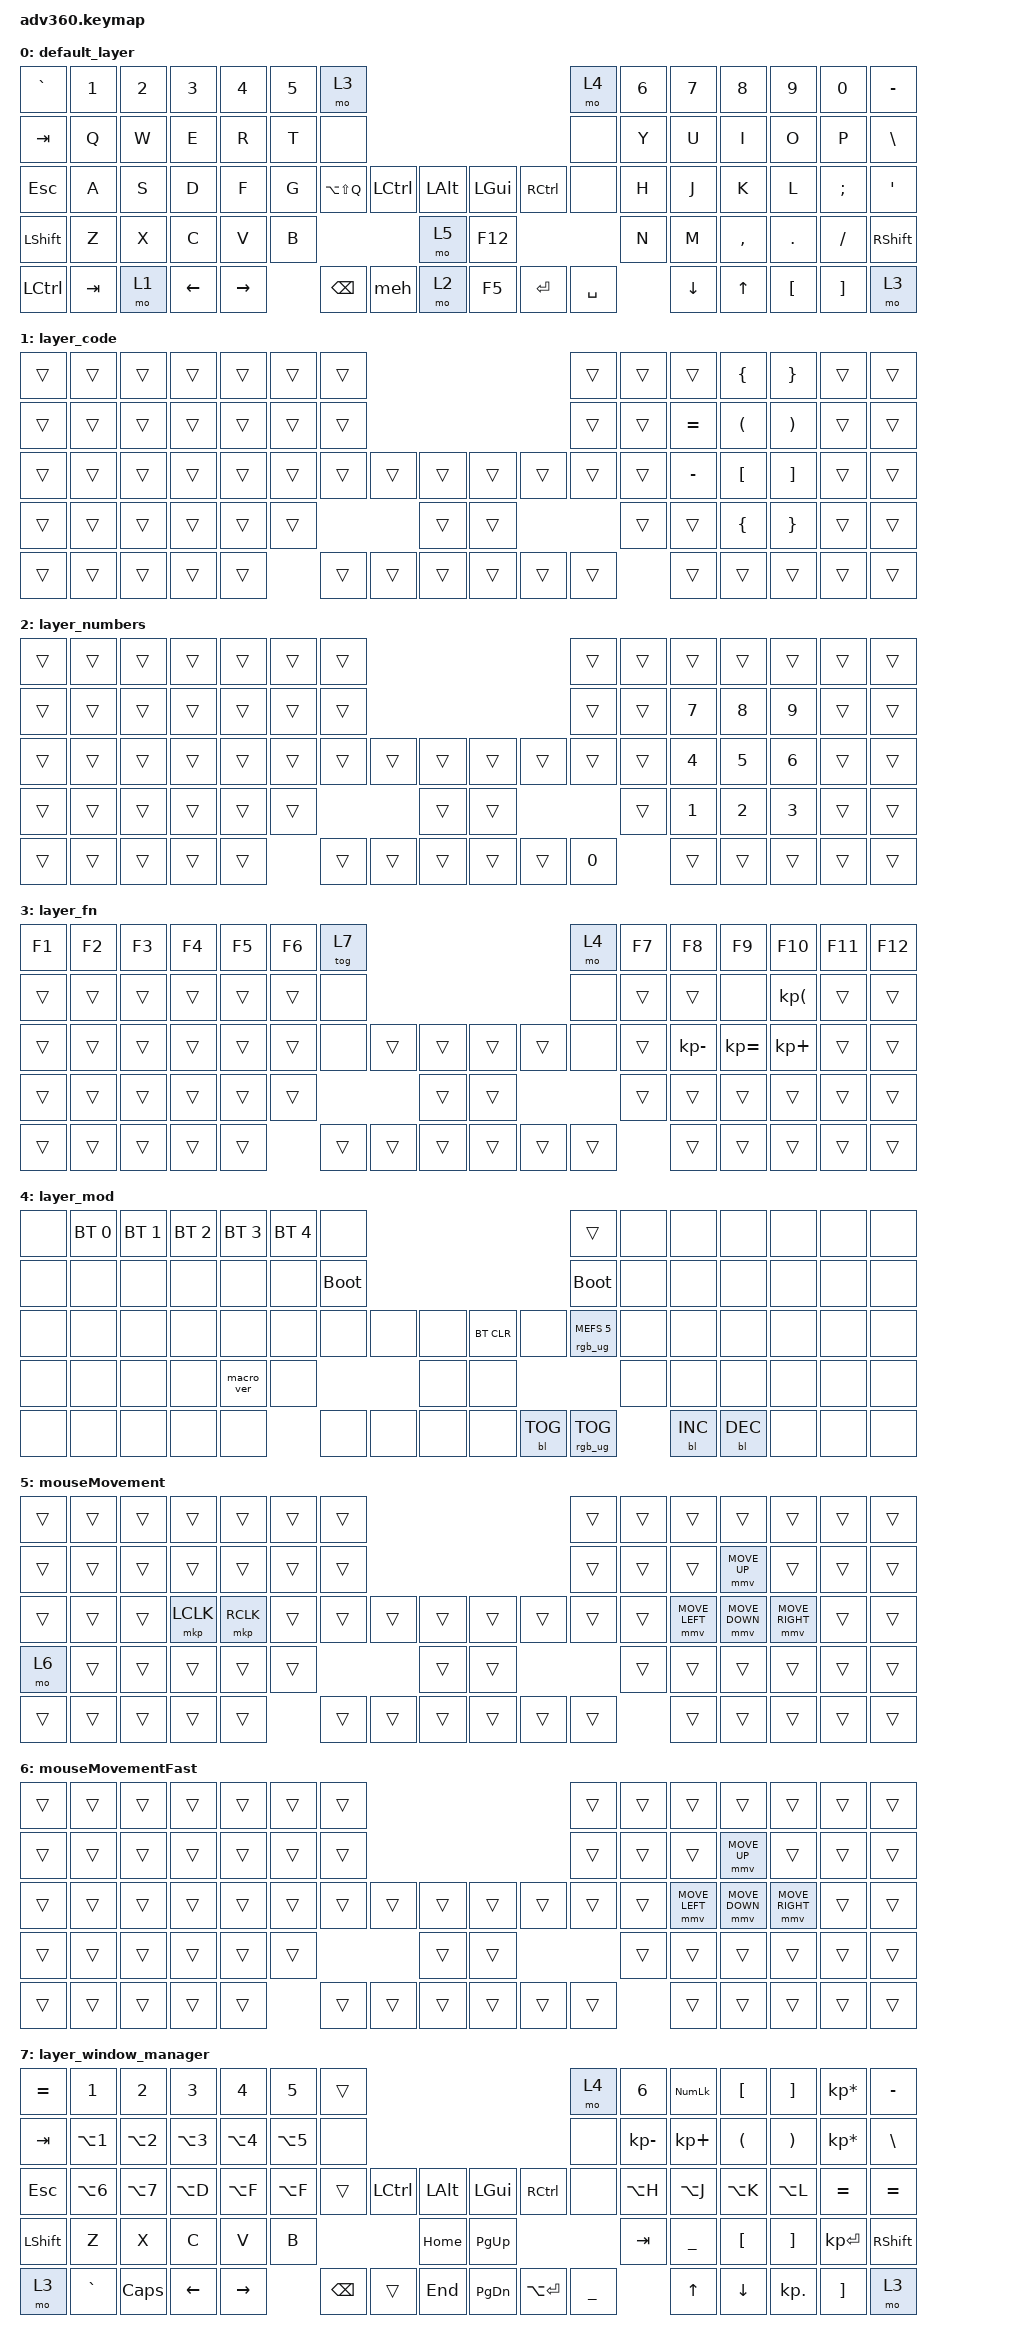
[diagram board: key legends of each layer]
/*
 * Copyright (c) 2020 The ZMK Contributors
 *
 * SPDX-License-Identifier: MIT
 */
/* THIS FILE WAS GENERATED!
 *
 * This file was generated automatically. You may or may not want to
 * edit it directly.
 */

#include <input/processors.dtsi>
#include <behaviors.dtsi>
#include <dt-bindings/zmk/backlight.h>
#include <dt-bindings/zmk/bt.h>
#include <dt-bindings/zmk/keys.h>
#include <dt-bindings/zmk/pointing.h>
#include <dt-bindings/zmk/rgb.h>

&mmv {
    acceleration-exponent = <2>;
    trigger-period-ms = <3>;
    time-to-max-speed-ms = <300>;
};

/*
* &mmv_input_listener {
*     set_fast {
*         layers = <6>;
*         input-processors = <&zip_xy_scale 2 1>;
*     };
* };
*/


/ {
    behaviors {
        #include "macros.dtsi"
    #include "version.dtsi"

        hm: homerow_mods {
            compatible = "zmk,behavior-hold-tap";
            label = "HOMEROW_MODS";
            #binding-cells = <2>;
            tapping-term-ms = <200>;
            quick_tap_ms = <175>;
            flavor = "tap-preferred";
            bindings = <&kp>, <&kp>;
        };
    };

    macros {
        meh: meh {
            compatible = "zmk,behavior-macro";
            #binding-cells = <0>;
            bindings =
                <&kp LEFT_CONTROL &kp LEFT_ALT &kp LEFT_SHIFT>,
                <&macro_press>;

            label = "MEH";
        };
    };

    keymap {
        compatible = "zmk,keymap";

        default_layer {
            bindings = <
&kp GRAVE  &kp N1   &kp N2  &kp N3    &kp N4     &kp N5  &mo 3                                                        &mo 4      &kp N6  &kp N7    &kp N8     &kp N9            &kp N0    &kp MINUS
&kp TAB    &kp Q    &kp W   &kp E     &kp R      &kp T   &none                                                        &none      &kp Y   &kp U     &kp I      &kp O             &kp P     &kp BSLH
&kp ESC    &kp A    &kp S   &kp D     &kp F      &kp G   &kp LA(LS(Q))  &kp LCTRL  &kp LALT      &kp LGUI  &kp RCTRL  &none      &kp H   &kp J     &kp K      &kp L             &kp SEMI  &kp SQT
&kp LSHFT  &kp Z    &kp X   &kp C     &kp V      &kp B                             &mo 5         &kp F12                         &kp N   &kp M     &kp COMMA  &kp DOT           &kp FSLH  &kp RSHFT
&kp LCTRL  &kp TAB  &mo 1   &kp LEFT  &kp RIGHT          &kp BSPC       &meh       &mo 2         &kp F5    &kp ENTER  &kp SPACE          &kp DOWN  &kp UP     &kp LEFT_BRACKET  &kp RBKT  &mo 3
            >;
        };

        layer_code {
            bindings = <
&trans  &trans  &trans  &trans  &trans  &trans  &trans                                      &trans  &trans  &trans     &kp LEFT_BRACE        &kp RIGHT_BRACE        &trans  &trans
&trans  &trans  &trans  &trans  &trans  &trans  &trans                                      &trans  &trans  &kp EQUAL  &kp LEFT_PARENTHESIS  &kp RIGHT_PARENTHESIS  &trans  &trans
&trans  &trans  &trans  &trans  &trans  &trans  &trans  &trans  &trans      &trans  &trans  &trans  &trans  &kp MINUS  &kp LEFT_BRACKET      &kp RIGHT_BRACKET      &trans  &trans
&trans  &trans  &trans  &trans  &trans  &trans                  &trans      &trans                  &trans  &trans     &kp LEFT_BRACE        &kp RIGHT_BRACE        &trans  &trans
&trans  &trans  &trans  &trans  &trans          &trans  &trans  &trans      &trans  &trans  &trans          &trans     &trans                &trans                 &trans  &trans
            >;
        };

        layer_numbers {
            bindings = <
&trans  &trans  &trans  &trans  &trans  &trans  &trans                                      &trans        &trans  &trans        &trans        &trans        &trans  &trans
&trans  &trans  &trans  &trans  &trans  &trans  &trans                                      &trans        &trans  &kp NUMBER_7  &kp NUMBER_8  &kp NUMBER_9  &trans  &trans
&trans  &trans  &trans  &trans  &trans  &trans  &trans  &trans  &trans      &trans  &trans  &trans        &trans  &kp NUMBER_4  &kp NUMBER_5  &kp NUMBER_6  &trans  &trans
&trans  &trans  &trans  &trans  &trans  &trans                  &trans      &trans                        &trans  &kp NUMBER_1  &kp NUMBER_2  &kp NUMBER_3  &trans  &trans
&trans  &trans  &trans  &trans  &trans          &trans  &trans  &trans      &trans  &trans  &kp NUMBER_0          &trans        &trans        &trans        &trans  &trans
            >;
        };

        layer_fn {
            bindings = <
&kp F1  &kp F2  &kp F3  &kp F4  &kp F5  &kp F6  &tog 7                                      &mo 4   &kp F7  &kp F8        &kp F9        &kp F10                  &kp F11  &kp F12
&trans  &trans  &trans  &trans  &trans  &trans  &none                                       &none   &trans  &trans        &none         &kp KP_LEFT_PARENTHESIS  &trans   &trans
&trans  &trans  &trans  &trans  &trans  &trans  &none   &trans  &trans      &trans  &trans  &none   &trans  &kp KP_MINUS  &kp KP_EQUAL  &kp KP_PLUS              &trans   &trans
&trans  &trans  &trans  &trans  &trans  &trans                  &trans      &trans                  &trans  &trans        &trans        &trans                   &trans   &trans
&trans  &trans  &trans  &trans  &trans          &trans  &trans  &trans      &trans  &trans  &trans          &trans        &trans        &trans                   &trans   &trans
            >;
        };

        layer_mod {
            bindings = <
&none  &bt BT_SEL 0  &bt BT_SEL 1  &bt BT_SEL 2  &bt BT_SEL 3  &bt BT_SEL 4  &none                                                  &trans                  &none  &none       &none       &none  &none  &none
&none  &none         &none         &none         &none         &none         &bootloader                                            &bootloader             &none  &none       &none       &none  &none  &none
&none  &none         &none         &none         &none         &none         &none        &none  &none      &bt BT_CLR  &none       &rgb_ug RGB_MEFS_CMD 5  &none  &none       &none       &none  &none  &none
&none  &none         &none         &none         &macro_ver    &none                             &none      &none                                           &none  &none       &none       &none  &none  &none
&none  &none         &none         &none         &none                       &none        &none  &none      &none       &bl BL_TOG  &rgb_ug RGB_TOG                &bl BL_INC  &bl BL_DEC  &none  &none  &none
            >;
        };

        mouseMovement {
            bindings = <
&trans  &trans  &trans  &trans     &trans     &trans  &trans                                      &trans  &trans  &trans          &trans          &trans           &trans  &trans
&trans  &trans  &trans  &trans     &trans     &trans  &trans                                      &trans  &trans  &trans          &mmv MOVE_UP    &trans           &trans  &trans
&trans  &trans  &trans  &mkp LCLK  &mkp RCLK  &trans  &trans  &trans  &trans      &trans  &trans  &trans  &trans  &mmv MOVE_LEFT  &mmv MOVE_DOWN  &mmv MOVE_RIGHT  &trans  &trans
&mo 6   &trans  &trans  &trans     &trans     &trans                  &trans      &trans                  &trans  &trans          &trans          &trans           &trans  &trans
&trans  &trans  &trans  &trans     &trans             &trans  &trans  &trans      &trans  &trans  &trans          &trans          &trans          &trans           &trans  &trans
            >;
        };

        mouseMovementFast {
            bindings = <
&trans  &trans  &trans  &trans  &trans  &trans  &trans                                      &trans  &trans  &trans          &trans          &trans           &trans  &trans
&trans  &trans  &trans  &trans  &trans  &trans  &trans                                      &trans  &trans  &trans          &mmv MOVE_UP    &trans           &trans  &trans
&trans  &trans  &trans  &trans  &trans  &trans  &trans  &trans  &trans      &trans  &trans  &trans  &trans  &mmv MOVE_LEFT  &mmv MOVE_DOWN  &mmv MOVE_RIGHT  &trans  &trans
&trans  &trans  &trans  &trans  &trans  &trans                  &trans      &trans                  &trans  &trans          &trans          &trans           &trans  &trans
&trans  &trans  &trans  &trans  &trans          &trans  &trans  &trans      &trans  &trans  &trans          &trans          &trans          &trans           &trans  &trans
            >;
        };

        layer_window_manager {
            bindings = <
&kp EQUAL  &kp N1      &kp N2      &kp N3      &kp N4      &kp N5      &trans                                                       &mo 4           &kp N6        &kp KP_NUM   &kp LEFT_BRACKET      &kp RIGHT_BRACKET      &kp KP_MULTIPLY  &kp MINUS
&kp TAB    &kp LA(N1)  &kp LA(N2)  &kp LA(N3)  &kp LA(N4)  &kp LA(N5)  &none                                                        &none           &kp KP_MINUS  &kp KP_PLUS  &kp LEFT_PARENTHESIS  &kp RIGHT_PARENTHESIS  &kp KP_MULTIPLY  &kp BSLH
&kp ESC    &kp LA(N6)  &kp LA(N7)  &kp LA(D)   &kp LA(F)   &kp LA(F)   &trans    &kp LCTRL  &kp LALT      &kp LGUI   &kp RCTRL      &none           &kp LA(H)     &kp LA(J)    &kp LA(K)             &kp LA(L)              &kp EQUAL        &kp EQUAL
&kp LSHFT  &kp Z       &kp X       &kp C       &kp V       &kp B                            &kp HOME      &kp PG_UP                                 &kp TAB       &kp UNDER    &kp LEFT_BRACKET      &kp RIGHT_BRACKET      &kp KP_ENTER     &kp RSHFT
&mo 3      &kp GRAVE   &kp CAPS    &kp LEFT    &kp RIGHT               &kp BSPC  &trans     &kp END       &kp PG_DN  &kp LA(ENTER)  &kp UNDERSCORE                &kp UP       &kp DOWN              &kp KP_DOT             &kp RBKT         &mo 3
            >;
        };
    };
};
